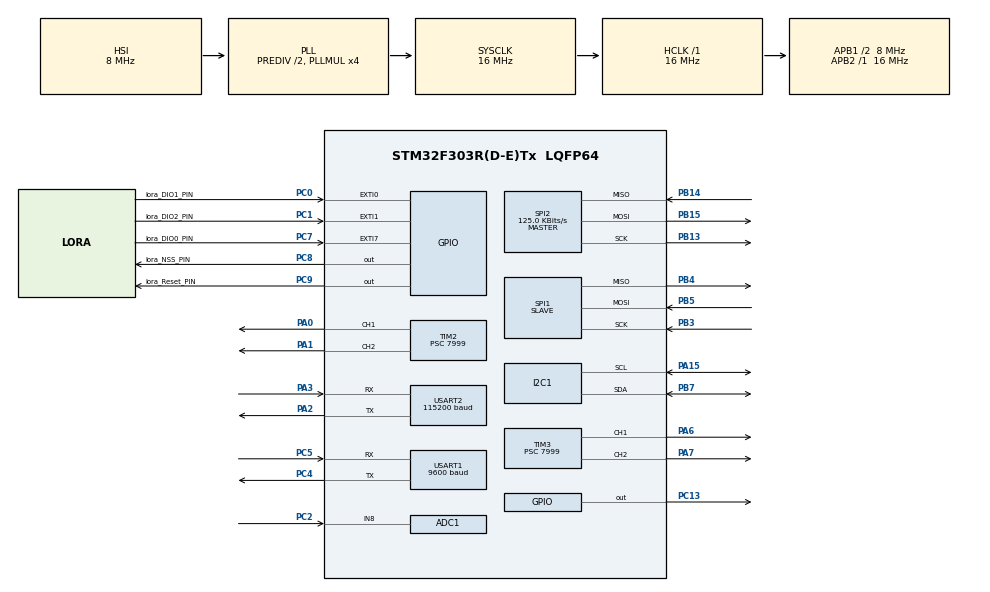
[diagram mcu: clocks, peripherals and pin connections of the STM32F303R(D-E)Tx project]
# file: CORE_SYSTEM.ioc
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ADC1.Channel-0\#ChannelRegularConversion=ADC_CHANNEL_8
ADC1.ContinuousConvMode=ENABLE
ADC1.NbrOfConversionFlag=1
ADC1.Offset-0\#ChannelRegularConversion=0
ADC1.OffsetNumber-0\#ChannelRegularConversion=ADC_OFFSET_NONE
ADC1.Rank-0\#ChannelRegularConversion=1
ADC1.SamplingTime-0\#ChannelRegularConversion=ADC_SAMPLETIME_1CYCLE_5
ADC1.SamplingTimeOPAMP-0\#ChannelRegularConversion=ADC_SAMPLETIME_7CYCLES_5
ADC1.master=1
Dma.ADC1.0.Direction=DMA_PERIPH_TO_MEMORY
Dma.ADC1.0.Instance=DMA1_Channel1
Dma.ADC1.0.MemDataAlignment=DMA_MDATAALIGN_HALFWORD
Dma.ADC1.0.MemInc=DMA_MINC_ENABLE
Dma.ADC1.0.Mode=DMA_NORMAL
Dma.ADC1.0.PeriphDataAlignment=DMA_PDATAALIGN_HALFWORD
Dma.ADC1.0.PeriphInc=DMA_PINC_DISABLE
Dma.ADC1.0.Priority=DMA_PRIORITY_LOW
Dma.Request0=ADC1
Dma.Request1=SPI1_RX
Dma.SPI1_RX.1.Direction=DMA_PERIPH_TO_MEMORY
Dma.SPI1_RX.1.Instance=DMA1_Channel2
Dma.SPI1_RX.1.MemDataAlignment=DMA_MDATAALIGN_BYTE
Dma.SPI1_RX.1.MemInc=DMA_MINC_ENABLE
Dma.SPI1_RX.1.Mode=DMA_CIRCULAR
Dma.SPI1_RX.1.PeriphDataAlignment=DMA_PDATAALIGN_BYTE
Dma.SPI1_RX.1.PeriphInc=DMA_PINC_DISABLE
Dma.SPI1_RX.1.Priority=DMA_PRIORITY_HIGH
Mcu.Family=STM32F3
Mcu.Name=STM32F303R(D-E)Tx
Mcu.Package=LQFP64
NVIC.DMA1_Channel1_IRQn=true\:0\:0\:false\:false\:true\:false\:true\:true
NVIC.DMA1_Channel2_IRQn=true\:0\:0\:false\:false\:true\:false\:true\:true
NVIC.EXTI0_IRQn=true\:0\:0\:false\:false\:true\:true\:true\:true
NVIC.EXTI1_IRQn=true\:0\:0\:false\:false\:true\:true\:true\:true
NVIC.EXTI9_5_IRQn=true\:0\:0\:false\:false\:true\:true\:true\:true
NVIC.PriorityGroup=NVIC_PRIORITYGROUP_0
NVIC.TIM4_IRQn=true\:0\:0\:false\:false\:true\:true\:true\:true
NVIC.TIM7_IRQn=true\:0\:0\:false\:false\:true\:true\:true\:true
NVIC.USART1_IRQn=true\:0\:0\:false\:false\:true\:true\:true\:true
NVIC.USART2_IRQn=true\:0\:0\:false\:false\:true\:true\:true\:true
PA0.Signal=S_TIM2_CH1_ETR
PA1.Signal=S_TIM2_CH2
PA13.Mode=Serial_Wire
PA13.Signal=SYS_JTMS-SWDIO
PA14.Mode=Serial_Wire
PA14.Signal=SYS_JTCK-SWCLK
PA15.Mode=I2C
PA15.Signal=I2C1_SCL
PA2.Mode=Asynchronous
PA2.Signal=USART2_TX
PA3.Mode=Asynchronous
PA3.Signal=USART2_RX
PA6.Signal=S_TIM3_CH1
PA7.Signal=S_TIM3_CH2
PB13.Mode=Full_Duplex_Master
PB13.Signal=SPI2_SCK
PB14.Mode=Full_Duplex_Master
PB14.Signal=SPI2_MISO
PB15.Mode=Full_Duplex_Master
PB15.Signal=SPI2_MOSI
PB3.Mode=Full_Duplex_Slave
PB3.Signal=SPI1_SCK
PB4.Mode=Full_Duplex_Slave
PB4.Signal=SPI1_MISO
PB5.Mode=Full_Duplex_Slave
PB5.Signal=SPI1_MOSI
PB7.Mode=I2C
PB7.Signal=I2C1_SDA
PC0.GPIO_Label=lora_DIO1_PIN
PC0.Signal=GPXTI0
PC1.GPIO_Label=lora_DIO2_PIN
PC1.Signal=GPXTI1
PC13.Signal=GPIO_Output
PC14-OSC32_IN.Mode=LSE-External-Oscillator
PC14-OSC32_IN.Signal=RCC_OSC32_IN
PC15-OSC32_OUT.Mode=LSE-External-Oscillator
PC15-OSC32_OUT.Signal=RCC_OSC32_OUT
PC2.Signal=ADCx_IN8
PC4.Mode=Asynchronous
PC4.Signal=USART1_TX
PC5.Mode=Asynchronous
PC5.Signal=USART1_RX
PC7.GPIO_Label=lora_DIO0_PIN
PC7.Signal=GPXTI7
PC8.GPIO_Label=lora_NSS_PIN
PC8.Signal=GPIO_Output
PC9.GPIO_Label=lora_Reset_PIN
PC9.Signal=GPIO_Output
PF0-OSC_IN.Mode=HSE-External-Oscillator
PF0-OSC_IN.Signal=RCC_OSC_IN
PF1-OSC_OUT.Mode=HSE-External-Oscillator
PF1-OSC_OUT.Signal=RCC_OSC_OUT
ProjectManager.HeapSize=0x200
ProjectManager.StackSize=0x400
ProjectManager.TargetToolchain=STM32CubeIDE
RCC.AHBFreq_Value=16000000
RCC.APB1CLKDivider=RCC_HCLK_DIV2
RCC.APB1Freq_Value=8000000
RCC.APB1TimFreq_Value=16000000
RCC.APB2Freq_Value=16000000
RCC.APB2TimFreq_Value=16000000
RCC.CortexFreq_Value=16000000
RCC.HCLKFreq_Value=16000000
RCC.HSE_VALUE=8000000
RCC.HSI_VALUE=8000000
RCC.PLLDivider=RCC_PREDIV_DIV2
RCC.PLLM=8
RCC.PLLMUL=RCC_PLL_MUL4
RCC.PLLN=336
RCC.PLLP=RCC_PLLP_DIV4
RCC.PLLQ=7
RCC.RCC_PLLsource_Clock_Source_FROM_HSE=RCC_HSE_PREDIV_DIV2
RCC.SYSCLKFreq_VALUE=16000000
RCC.SYSCLKSourceVirtual=RCC_SYSCLKSOURCE_PLLCLK
RCC.USBFreq_Value=16000000
SH.ADCx_IN8.0=ADC1_IN8,IN8-Single-Ended
SH.S_TIM2_CH1_ETR.0=TIM2_CH1,PWM Generation1 CH1
SH.S_TIM2_CH2.0=TIM2_CH2,PWM Generation2 CH2
SH.S_TIM3_CH1.0=TIM3_CH1,PWM Generation1 CH1
SH.S_TIM3_CH2.0=TIM3_CH2,PWM Generation2 CH2
SPI1.DataSize=SPI_DATASIZE_8BIT
SPI1.Direction=SPI_DIRECTION_2LINES
SPI1.Mode=SPI_MODE_SLAVE
SPI1.VirtualType=VM_SLAVE
SPI2.BaudRatePrescaler=SPI_BAUDRATEPRESCALER_64
SPI2.CalculateBaudRate=125.0 KBits/s
SPI2.DataSize=SPI_DATASIZE_8BIT
SPI2.Direction=SPI_DIRECTION_2LINES
SPI2.Mode=SPI_MODE_MASTER
SPI2.VirtualType=VM_MASTER
TIM2.Channel-PWM\ Generation1\ CH1=TIM_CHANNEL_1
TIM2.Channel-PWM\ Generation2\ CH2=TIM_CHANNEL_2
TIM2.Period=199
TIM2.Prescaler=7999
TIM3.Channel-PWM\ Generation1\ CH1=TIM_CHANNEL_1
TIM3.Channel-PWM\ Generation2\ CH2=TIM_CHANNEL_2
TIM3.Period=199
TIM3.Prescaler=7999
TIM4.Channel-Output\ Compare1\ No\ Output=TIM_CHANNEL_1
TIM4.Period=30000-1
TIM4.Prescaler=244-1
TIM7.Period=65535-1
TIM7.Prescaler=1221-1
TIM8.Period=63999
TIM8.Prescaler=1249
USART1.BaudRate=9600
USART1.VirtualMode-Asynchronous=VM_ASYNC
USART2.BaudRate=115200
USART2.VirtualMode-Asynchronous=VM_ASYNC
VP_TIM2_VS_ClockSourceINT.Mode=Internal
VP_TIM3_VS_ClockSourceINT.Mode=Internal
VP_TIM4_VS_no_output1.Mode=Output Compare1 No Output
VP_TIM7_VS_ClockSourceINT.Mode=Enable_Timer
VP_TIM8_VS_ClockSourceINT.Mode=Internal
board=NUCLEO-F303RE

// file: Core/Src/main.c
/* USER CODE BEGIN Header */
/**
  ******************************************************************************
  * @file           : main.c
  * @brief          : Main program body
  ******************************************************************************
  * @attention
  *
  * Copyright (c) 2023 STMicroelectronics.
  * All rights reserved.
  *
  * This software is licensed under terms that can be found in the LICENSE file
  * in the root directory of this software component.
  * If no LICENSE file comes with this software, it is provided AS-IS.
  *
  ******************************************************************************
  */
/* USER CODE END Header */
#include "main.h"

/* USER CODE BEGIN Includes */
#include "../../lmic/lmic.h"
#include "../../stm32/debug.h"
#include "stdio.h"
/*------------OUT OF LORA-------------*/
#include <stdlib.h>
#include <math.h>
#include <stdbool.h>

#include "MPU6050.h"
#include "HMC5883L.h"
#include "lwgps/lwgps.h"
#include "moving.h"
#include "geometric.h"
/*-------------------------*/
/* USER CODE END Includes */

/* USER CODE BEGIN PD */
// Max size array
#define SIZEARRAY 50

/*---------------------MPU6050+HMC5883L----------------------*/
/*-------------Hệ thống cân bằng 9DOF - Trục tự do-----------*/
MPU6050 mpu6050;
MPU6050Error mpu6050error;
float currentAngle ; //Góc quay của hệ thống theo trục Z
float targetAngle; //Góc đích hệ thống cần đạt tới
HMC5883L hmc5883l;
float Gz;
bool firstTime = true;
/*-----------------------------------------------------------*/

/*-----------------------------GPS------------------------------*/
/* Số lượng mẫu dùng để làm trung bình dữ liệu GPS - Chống nhiễu*/
#define NUM_SAMPLES 20
lwgps_t gps;
float latitude_samples[NUM_SAMPLES];
float longitude_samples[NUM_SAMPLES];
int sample_index = 0;
//Khởi tạo điểm bắt đầu (�?iễm Tĩnh)
 Coordinate startGPS = {0.0f,0.0f};
// GPS after filter
Coordinate currentGPS = {0.0f,0.0f};
//GPS of shortest path in Markers from startGPS
Coordinate targetGPS = {16.075417285156828, 108.15257015675355};
//Coordinate targetGPS = {16.075421557735048, 108.15258639483889};

uint8_t isStartSaved = 0;
/*--------------------------------------------------------------*/

/*Nhận dữ liệu Markers từ Server -> STM32 thông qua LoRa
 * Mảng lưu khoảng cách để tìm ngắn nhất*/
static Coordinate markers[2] = {
		{16.075194111747805, 108.15276546075143},
		{16.0711222, 108.1523200},

};

Coordinate gridList[10] = {
		{16.075425130506527, 108.15259298609973},
		{16.075428518189263, 108.15261629679365}
};

int gridIdx = 0; // Khi chưa đến marker 0
int CCRleft1, CCRleft2, CCRright1, CCRright2;
//Distance from Start Point to Marker 0
float firstDistance= 0.0;
//Distance from
float currentDistance = 0.0;

int32_t lat_int ;
int32_t lat_fractional;
/*------------------------------------------------------*/

/*----For SPI1----*/
uint8_t RxBuffer;
char *tmp;
int dataRx = 0;
uint8_t receivedData;
/*----------------*/

/*----For USART 1----*/
uint8_t rx_buffer[128];
uint8_t rx_index = 0;
uint8_t rx_data = 0;
/*-------------------*/

/*---------For ADC---------*/
float battery_voltage =0.0f;
float speed =0.0f;
uint32_t ADC_value;
/*-------------------------*/

/* USER CODE END PD */

/* USER CODE BEGIN PM */
int a =0;
int fPort ;
uint8_t result;
/* USER CODE END PM */

ADC_HandleTypeDef hadc1;
DMA_HandleTypeDef hdma_adc1;

I2C_HandleTypeDef hi2c1;

SPI_HandleTypeDef hspi1;
SPI_HandleTypeDef hspi2;
DMA_HandleTypeDef hdma_spi1_rx;

TIM_HandleTypeDef htim2;
TIM_HandleTypeDef htim3;
TIM_HandleTypeDef htim4;
TIM_HandleTypeDef htim7;
TIM_HandleTypeDef htim8;

UART_HandleTypeDef huart1;
UART_HandleTypeDef huart2;

/* USER CODE BEGIN PV */
// application router ID (LSBF)  < ------- IMPORTANT
// application router ID (LSBF)
static const uint8_t APPEUI[8]  = {}; //{ 0xC1 , 0x67 , 0x01 , 0xD0 , 0x7E , 0xD5 , 0xB3 , 0x70};

// unique device ID (LSBF)
static const uint8_t DEVEUI[8]  ={ 0x70, 0xB3, 0xD5, 0x7E, 0xD8, 0x00, 0x21, 0x35 }; //{ 0x5b , 0xfe , 0xA1 , 0x59 , 0x2f , 0xf1 , 0x56 , 0x00 };

// device-specific AES key (derived from device EUI)
static const uint8_t DEVKEY[16] = {}; //{ 0x02, 0x25, 0xC3, 0x06, 0x01, 0xAF, 0xA9, 0xEC, 0x05, 0x74, 0xA2, 0x66, 0xA5, 0xAA, 0xE3, 0x18 };
// network.
static const uint8_t NWKSKEY[16] = { 0x5F, 0xCC, 0x77, 0xA8, 0x6A, 0xCB, 0x59, 0x7D, 0x5B, 0xD9, 0x80, 0x23, 0x13, 0x45, 0x94, 0x73 };

// LoRaWAN AppSKey, application session key
// This is the default Semtech key, which is used by the early prototype TTN
// network.
static const uint8_t APPSKEY[16] = { 0xAC, 0x06, 0x47, 0xBB, 0x19, 0xE8, 0x25, 0x1D, 0xF3, 0xB5, 0x70, 0xC6, 0x0C, 0xB0, 0x9A, 0x54 };

// LoRaWAN end-device address (DevAddr)
static const uint32_t DEVADDR = 0x27FD1B80; // <-- Change this address for every node!

//   ABP
/* USER CODE END PV */

void SystemClock_Config(void);
static void MX_GPIO_Init(void);
static void MX_DMA_Init(void);
static void MX_SPI2_Init(void);
static void MX_TIM4_Init(void);
static void MX_TIM7_Init(void);
static void MX_USART1_UART_Init(void);
static void MX_I2C1_Init(void);
static void MX_TIM2_Init(void);
static void MX_USART2_UART_Init(void);
static void MX_TIM3_Init(void);
static void MX_ADC1_Init(void);
static void MX_SPI1_Init(void);
static void MX_TIM8_Init(void);
/* USER CODE BEGIN PFP */

void HAL_UART_RxCpltCallback(UART_HandleTypeDef *huart)
{
	if(huart == &huart1) {
		if(rx_data != '\n' && rx_index < sizeof(rx_buffer)) {
			rx_buffer[rx_index++] = rx_data;
		} else {
			lwgps_process(&gps, rx_buffer, rx_index+1);
			rx_index = 0;
			rx_data = 0;
		}
		HAL_UART_Receive_IT(&huart1, &rx_data, 1);
	}
}

void deleteBuffer(char* data)
{
  uint8_t len = strlen(data);
  for(uint8_t i = 0; i < len; i++)
  {
		data[i] = 0;
  }
}

/* USER CODE END PFP */

/* USER CODE BEGIN 0 */

void os_getArtEui (uint8_t* buf) {
    memcpy(buf, APPEUI, 8);
}

// provide device ID (8 bytes, LSBF)
void os_getDevEui (uint8_t* buf) {
    memcpy(buf, DEVEUI, 8);
}

// provide device key (16 bytes)
void os_getDevKey (uint8_t* buf) {
    memcpy(buf, DEVKEY, 16);
}

#define TX_INTERVAL 10

#define TX_TIMEOUT 60
static uint8_t data[24];
static osjob_t sendjob;

void do_send(osjob_t* j){
	ostime_t tm = os_getTime();
		printf("Call %s %lums\n", __func__, (unsigned long)osticks2ms(tm));

		if (!(LMIC.opmode & OP_TXRXPEND)) {

			double lat_float = currentGPS.latitude * 1000000.0;
			double lon_float = currentGPS.longitude * 1000000.0;

			 lat_int = (int32_t)lat_float; // Integer part of latitude
			 int32_t lon_int = (int32_t)lon_float; // Integer part of longitude

			// Calculate fractional parts for latitude and longitude with 10 decimal places
			double lat_fractional_double = (lat_float - lat_int)*1000.0;
			double lon_fractional_double = (lon_float - lon_int) * 1000.0;

			// Round the fractional parts to integers
			 lat_fractional = (int32_t)(lat_fractional_double ); // Round to the nearest integer
			int32_t lon_fractional = (int32_t)(lon_fractional_double ); // Round to the nearest integer

			//Convert speed and battery percentage to integers for transmission
			int32_t speedInt = (int32_t)(speed * 100); // Multiply by 100 to keep two decimal places
			int32_t batteryPercentageInt = (int32_t)(battery_voltage * 100); // Multiply by 100 to keep two decimal places

			// Now convert integer and fractional parts into bytes
			data[0] = (lat_int >> 24) & 0xFF;
			data[1] = (lat_int >> 16) & 0xFF;
			data[2] = (lat_int >> 8) & 0xFF;
			data[3] = lat_int & 0xFF;

			data[4] = (lat_fractional >> 24) & 0xFF;
			data[5] = (lat_fractional >> 16) & 0xFF;
			data[6] = (lat_fractional >> 8) & 0xFF;
			data[7] = lat_fractional & 0xFF;

			data[8] = (lon_int >> 24) & 0xFF;
			data[9] = (lon_int >> 16) & 0xFF;
			data[10] = (lon_int >> 8) & 0xFF;
			data[11] = lon_int & 0xFF;

			data[12] = (lon_fractional >> 24) & 0xFF;
			data[13] = (lon_fractional >> 16) & 0xFF;
			data[14] = (lon_fractional >> 8) & 0xFF;
			data[15] = lon_fractional & 0xFF;

			data[16] = (speedInt >> 24) & 0xFF;
			data[17] = (speedInt >> 16) & 0xFF;
			data[18] = (speedInt >> 8) & 0xFF;
			data[19] = speedInt & 0xFF;

			data[20] = (batteryPercentageInt >> 24) & 0xFF;
			data[21] = (batteryPercentageInt >> 16) & 0xFF;
			data[22] = (batteryPercentageInt >> 8) & 0xFF;
			data[23] = batteryPercentageInt & 0xFF;

			LMIC_setTxData2(1, data, sizeof(data), 0);
			for (int i = 0; i<=sizeof(data); i++) data[i] = 0;
		}
		os_setTimedCallback(j, tm+sec2osticks(TX_TIMEOUT), do_send);
}
void onEvent (ev_t ev) {
    debug_event(ev);
    debug_str("\n");
    switch(ev) {
        case EV_SCAN_TIMEOUT:
            debug_str("EV_SCAN_TIMEOUT\n");
            break;
        case EV_BEACON_FOUND:
            debug_str("EV_BEACON_FOUND\n");
            break;
        case EV_BEACON_MISSED:
            debug_str("EV_BEACON_MISSED\n");
            break;
        case EV_BEACON_TRACKED:
            debug_str("EV_BEACON_TRACKED\n");
            break;
        case EV_JOINING:
            debug_str("EV_JOINING\n");
            break;
        case EV_JOINED:
            debug_str("EV_JOINED\n");
            break;
        case EV_RFU1:
            debug_str("EV_RFU1\n");
            break;
        case EV_JOIN_FAILED:
            debug_str("EV_JOIN_FAILED\n");
            break;
        case EV_REJOIN_FAILED:
            debug_str("EV_REJOIN_FAILED\n");
            os_setTimedCallback(&sendjob, os_getTime()+sec2osticks(TX_INTERVAL), do_send);
            break;
        case EV_TXCOMPLETE:
            debug_str("EV_TXCOMPLETE (includes waiting for RX windows)\n");
            if (LMIC.txrxFlags & TXRX_ACK)
              debug_str("Received ack\n");
            if (LMIC.dataLen) {
            	a=1;
              debug_str("Received \n");
              debug_int(LMIC.dataLen);
              debug_str(" bytes of payload\n");
            }

            // Schedule next transmission
            os_setTimedCallback(&sendjob, os_getTime()+sec2osticks(TX_INTERVAL), do_send);
            break;
        case EV_LOST_TSYNC:
            debug_str("EV_LOST_TSYNC\n");
            break;
        case EV_RESET:
            debug_str("EV_RESET\n");
            break;
        case EV_RXCOMPLETE:
            // data received in ping slot
            debug_str("EV_RXCOMPLETE\n");
            if(LMIC.dataLen >0){
          	  result = LMIC.frame[LMIC.dataBeg + 0];
            if (result == 1)  {
          	  HAL_GPIO_TogglePin(GPIOC, GPIO_PIN_13);
           }
           if (result == 2)  {
          	  HAL_GPIO_WritePin(GPIOC, GPIO_PIN_13, SET);
           }
           }
            break;
        case EV_LINK_DEAD:
            debug_str("EV_LINK_DEAD\n");
            break;
        case EV_LINK_ALIVE:
            debug_str("EV_LINK_ALIVE\n");
            break;
         default:
            debug_str("Unknown event\n");
            break;
    }
}

void initfunc(osjob_t* j)
{
	   // Reset the MAC state. Session and pending data transfers will be discarded.
	   LMIC_reset();
	   LMIC_startJoining();
	   // Set static session parameters. Instead of dynamically establishing a session
	   // by joining the network, precomputed session parameters are be provided.
	   // On AVR, these values are stored in flash and only copied to RAM
	   // once. Copy them to a temporary buffer here, LMIC_setSession will
	   // copy them into a buffer of its own again.
	    uint8_t appskey[sizeof(APPSKEY)];
	    uint8_t nwkskey[sizeof(NWKSKEY)];
	    memcpy(appskey, APPSKEY, sizeof(APPSKEY));
	    memcpy(nwkskey, NWKSKEY, sizeof(NWKSKEY));
	    LMIC_setSession (0x1, DEVADDR, nwkskey, appskey);

	  #if defined(CFG_eu868)
	   // Set up the channels used by the Things Network, which corresponds
	   // to the defaults of most gateways. Without this, only three base
	   // channels from the LoRaWAN specification are used, which certainly
	   // works, so it is good for debugging, but can overload those
	   // frequencies, so be sure to configure the full frequency range of
	   // your network here (unless your network autoconfigures them).
	   // Setting up channels should happen after LMIC_setSession, as that
	   // configures the minimal channel set.
	   // NA-US channels 0-71 are configured automatically
	   LMIC_setupChannel(0, 903900000, DR_RANGE_MAP(DR_SF12, DR_SF7),  BAND_CENTI);      // g-band
	   LMIC_setupChannel(1, 904100000, DR_RANGE_MAP(DR_SF12, DR_SF7B), BAND_CENTI);      // g-band
	   LMIC_setupChannel(2, 904300000, DR_RANGE_MAP(DR_SF12, DR_SF7),  BAND_CENTI);      // g-band
	   LMIC_setupChannel(3, 904500000, DR_RANGE_MAP(DR_SF12, DR_SF7),  BAND_CENTI);      // g-band
	   LMIC_setupChannel(4, 904700000, DR_RANGE_MAP(DR_SF12, DR_SF7),  BAND_CENTI);      // g-band
	   LMIC_setupChannel(5, 904900000, DR_RANGE_MAP(DR_SF12, DR_SF7),  BAND_CENTI);      // g-band
	   LMIC_setupChannel(6, 905100000, DR_RANGE_MAP(DR_SF12, DR_SF7),  BAND_CENTI);      // g-band
	   LMIC_setupChannel(7, 905300000, DR_RANGE_MAP(DR_SF12, DR_SF7),  BAND_CENTI);      // g-band
	   LMIC_setupChannel(8, 904600000, DR_RANGE_MAP(DR_FSK,  DR_FSK),  BAND_MILLI);      // g2-band
	   // TTN defines an additional channel at 869.525Mhz using SF9 for class B
	   // devices' ping slots. LMIC does not have an easy way to define set this
	   // frequency and support for class B is spotty and untested, so this
	   // frequency is not configured here.
	   #elif defined(CFG_us915)
	   // NA-US channels 0-71 are configured automatically
	   // but only one group of 8 should (a subband) should be active
	   // TTN recommends the second sub band, 1 in a zero based count.
	   // https://github.com/TheThingsNetwork/gateway-conf/blob/master/US-global_conf.json
	   LMIC_selectSubBand(1);
	  #endif

	   // Disable link check validation
	   LMIC_setLinkCheckMode(0);

	   // TTN uses SF9 for its RX2 window.
	   LMIC.dn2Dr = DR_SF9;

	   // Set data rate and transmit power for uplink (note: txpow seems to be ignored by the library)
	   LMIC_setDrTxpow(DR_SF9,14);
	   os_setTimedCallback(&sendjob, os_getTime(), do_send);
	   // Start job

	  // time= HAL_GetTick();
}

// Hàm cập nhật giá trị GPS bằng cách làm trung bình các mẫu
void UpdateGPS(double new_latitude, double new_longitude) {

    // Lưu giá trị mới vào mảng mẫu
    latitude_samples[sample_index] = new_latitude;
    longitude_samples[sample_index] = new_longitude;

    // Tăng chỉ số mẫu
    sample_index = (sample_index + 1) % NUM_SAMPLES;

    // Tính giá trị trung bình từ các mẫu
    double sum_latitude = 0.0f;
    double sum_longitude = 0.0f;
    for (int i = 0; i < NUM_SAMPLES; i++) {
        sum_latitude += latitude_samples[i];
        sum_longitude += longitude_samples[i];
    }

    // Cập nhật giá trị GPS bằng giá trị trung bình
    currentGPS.latitude = sum_latitude / NUM_SAMPLES;
    currentGPS.longitude = sum_longitude / NUM_SAMPLES;

}

/*Function save Start GPS at the first time TURN ON SYSTEM*/
void initializeStartPointGPS(Coordinate current){
	if (current.latitude != 0 && isStartSaved <= 250) {
		startGPS = current;
		isStartSaved++;
	}
}

/*Function save the first target angle for first time open sytem with no data markers*/
void initializeFirstAngle(){
	if ( firstTime ) {
		targetAngle = currentAngle;
		firstTime = false;
	}
}

/*Function calculation angle of system depend on X-Y-Z Axis*/
void calculateAngleOfSystem(){
	HMC5883L_ReadMagneticField(&hmc5883l);
    MPU6050_Read_All(&mpu6050, &mpu6050error,&hmc5883l);
    Gz = mpu6050.Gz;
    //Current angle of robot
    currentAngle = round(mpu6050.Angle[2]);
    HAL_Delay(1);

}

/* Function calculating from the startPoint to 1 of Grid[0] */
float informationFirstPhase(){
	targetGPS.longitude = markers[0].longitude;
	targetGPS.latitude = markers[0].latitude;
	return Haversine_Distance(startGPS, targetGPS);;

}

/*Function to find target angle (Angle of shorsted path)*/
void findAngleForFirstPhase(){

	targetAngle = round(convertRange360(Azimuth_Angle(startGPS, targetGPS)));
}

/* Function to calculate battery percentage*/
float calculateBatteryPercentage(uint16_t adcValue) {
    uint16_t ADC_min = 2444*(3.37/6.7);
    uint16_t ADC_max = 4095;

    float batteryPercentage = ((float)(adcValue - ADC_min) / (float)(ADC_max - ADC_min)) * 100.0f;

    if (batteryPercentage > 100.0f) {
        batteryPercentage = 100.0f;
    } else if (batteryPercentage < 0.0f) {
        batteryPercentage = 0.0f;
    }

    return batteryPercentage;
}

/* Function to read ADC value for Battery Percentage*/
void processingBatteryPercentage(){
	HAL_ADC_Start_DMA(&hadc1, &ADC_value, 1);
	speed = lwgps_to_speed(gps.speed, lwgps_speed_mps);
	battery_voltage = calculateBatteryPercentage(ADC_value);
}

/* USER CODE END 0 */

int main(void)
{

  /* MCU Configuration--------------------------------------------------------*/

  /* Reset of all peripherals, Initializes the Flash interface and the Systick. */
  HAL_Init();

  /* Configure the system clock */
  SystemClock_Config();

  /* Initialize all configured peripherals */
  MX_GPIO_Init();
  MX_DMA_Init();
  MX_SPI2_Init();
  MX_TIM4_Init();
  MX_TIM7_Init();
  MX_USART1_UART_Init();
  MX_I2C1_Init();
  MX_TIM2_Init();
  MX_USART2_UART_Init();
  MX_TIM3_Init();
  MX_ADC1_Init();
  MX_SPI1_Init();
  MX_TIM8_Init();
  /* USER CODE BEGIN 2 */
  /*------------PWM Motor Init-----------*/
  HAL_TIM_PWM_Start(&htim2, TIM_CHANNEL_1);
  HAL_TIM_PWM_Start(&htim2, TIM_CHANNEL_2);
  HAL_TIM_PWM_Start(&htim3, TIM_CHANNEL_1);
  HAL_TIM_PWM_Start(&htim3, TIM_CHANNEL_2);
  /*------------------------------ -------*/

  /*-----------Robot GPS Init-------------*/
  lwgps_init(&gps);
  HAL_UART_Receive_IT(&huart1, &rx_data, 1);
  /*--------------------------------------*/

  /*---------------9DOF Init------------------*/
  MPU6050_Init();
  MPU6050_Calibration(&mpu6050, &mpu6050error);
  HAL_Delay(20);
  HMC5883L_Init();
  HMC5883L_Calibration(&hmc5883l);
  /*------------------------------------------*/

  /*------Raspberry Pi 4 interract-------*/
   // HAL_SPI_Receive_DMA(&hspi1, &RxBuffer, 1);
   /*-------------------------------------*/

  /*----------LORA Init------------*/
  HAL_TIM_Base_Start_IT(&htim4);    // <-----------  change to your setup
  HAL_TIM_Base_Start_IT(&htim7);    // <-----------  change to your setup
  __HAL_SPI_ENABLE(&hspi2);      	// <-----------  change to your setup
  /*------------------------------*/

  /* USER CODE END 2 */

  /* Infinite loop */
  /* USER CODE BEGIN WHILE */
	osjob_t initjob;
	os_init();
	initfunc(&initjob);
	do_send(&sendjob);
  while (1)
  {
    /* USER CODE END WHILE */

    /* USER CODE BEGIN 3 */

	  /*-----Basic Update Position and Angle of system-----*/
	   UpdateGPS(gps.latitude, gps.longitude);
	   calculateAngleOfSystem();
	   processingBatteryPercentage();
	  /*---------------------------------------------------*/

	   if(sizeof(markers) != 0){
		   if(RxBuffer == 'a'){
			   TURN_LEFT();
		   	   		tmp = "left";
		   }	else if(RxBuffer == 'b'){
			   TURN_RIGHT();
		   	   		tmp = "right";
		   } 	else if(RxBuffer == 'c'){
			   	   driving();
					tmp = "straight";
		   }else {
			   STOP();
			   initializeStartPointGPS(currentGPS);
			   	  	 HAL_Delay(10);
			   	  	 /*-----------------------Chặng - I-----------------------*/
			   	  //	 targetGPS = (gridIdx < 0) ? markers[0] : gridList[gridIdx];
			   	  	 targetGPS =gridList[gridIdx];
			   	  	 firstDistance = Haversine_Distance(startGPS, targetGPS);
			   	  	 findAngleForFirstPhase();
			   	  	 arrivePoint(targetGPS);
		   }
	  }else {

		  //When no data in markers , system will rotate for itself to avoid water current
		  initializeFirstAngle();
		  rotate();
	  }

	  /*----LoRa send data---*/
	  os_runloop_once();
	  /*---------------------*/
  }
  /* USER CODE END 3 */
}

void SystemClock_Config(void)
{
  RCC_OscInitTypeDef RCC_OscInitStruct = {0};
  RCC_ClkInitTypeDef RCC_ClkInitStruct = {0};
  RCC_PeriphCLKInitTypeDef PeriphClkInit = {0};

  /** Initializes the RCC Oscillators according to the specified parameters
  * in the RCC_OscInitTypeDef structure.
  */
  RCC_OscInitStruct.OscillatorType = RCC_OSCILLATORTYPE_HSI;
  RCC_OscInitStruct.HSIState = RCC_HSI_ON;
  RCC_OscInitStruct.HSICalibrationValue = RCC_HSICALIBRATION_DEFAULT;
  RCC_OscInitStruct.PLL.PLLState = RCC_PLL_ON;
  RCC_OscInitStruct.PLL.PLLSource = RCC_PLLSOURCE_HSI;
  RCC_OscInitStruct.PLL.PLLMUL = RCC_PLL_MUL4;
  RCC_OscInitStruct.PLL.PREDIV = RCC_PREDIV_DIV2;
  if (HAL_RCC_OscConfig(&RCC_OscInitStruct) != HAL_OK)
  {
    Error_Handler();
  }

  /** Initializes the CPU, AHB and APB buses clocks
  */
  RCC_ClkInitStruct.ClockType = RCC_CLOCKTYPE_HCLK|RCC_CLOCKTYPE_SYSCLK
                              |RCC_CLOCKTYPE_PCLK1|RCC_CLOCKTYPE_PCLK2;
  RCC_ClkInitStruct.SYSCLKSource = RCC_SYSCLKSOURCE_PLLCLK;
  RCC_ClkInitStruct.AHBCLKDivider = RCC_SYSCLK_DIV1;
  RCC_ClkInitStruct.APB1CLKDivider = RCC_HCLK_DIV2;
  RCC_ClkInitStruct.APB2CLKDivider = RCC_HCLK_DIV1;

  if (HAL_RCC_ClockConfig(&RCC_ClkInitStruct, FLASH_LATENCY_0) != HAL_OK)
  {
    Error_Handler();
  }
  PeriphClkInit.PeriphClockSelection = RCC_PERIPHCLK_USART1|RCC_PERIPHCLK_USART2
                              |RCC_PERIPHCLK_I2C1|RCC_PERIPHCLK_TIM8
                              |RCC_PERIPHCLK_ADC12|RCC_PERIPHCLK_TIM2
                              |RCC_PERIPHCLK_TIM34;
  PeriphClkInit.Usart1ClockSelection = RCC_USART1CLKSOURCE_PCLK2;
  PeriphClkInit.Usart2ClockSelection = RCC_USART2CLKSOURCE_PCLK1;
  PeriphClkInit.Adc12ClockSelection = RCC_ADC12PLLCLK_DIV1;
  PeriphClkInit.I2c1ClockSelection = RCC_I2C1CLKSOURCE_HSI;
  PeriphClkInit.Tim8ClockSelection = RCC_TIM8CLK_HCLK;
  PeriphClkInit.Tim2ClockSelection = RCC_TIM2CLK_HCLK;
  PeriphClkInit.Tim34ClockSelection = RCC_TIM34CLK_HCLK;
  if (HAL_RCCEx_PeriphCLKConfig(&PeriphClkInit) != HAL_OK)
  {
    Error_Handler();
  }
}

static void MX_ADC1_Init(void)
{

  ADC_MultiModeTypeDef multimode = {0};
  ADC_ChannelConfTypeDef sConfig = {0};

  /** Common config
  */
  hadc1.Instance = ADC1;
  hadc1.Init.ClockPrescaler = ADC_CLOCK_ASYNC_DIV1;
  hadc1.Init.Resolution = ADC_RESOLUTION_12B;
  hadc1.Init.ScanConvMode = ADC_SCAN_DISABLE;
  hadc1.Init.ContinuousConvMode = ENABLE;
  hadc1.Init.DiscontinuousConvMode = DISABLE;
  hadc1.Init.ExternalTrigConvEdge = ADC_EXTERNALTRIGCONVEDGE_NONE;
  hadc1.Init.ExternalTrigConv = ADC_SOFTWARE_START;
  hadc1.Init.DataAlign = ADC_DATAALIGN_RIGHT;
  hadc1.Init.NbrOfConversion = 1;
  hadc1.Init.DMAContinuousRequests = DISABLE;
  hadc1.Init.EOCSelection = ADC_EOC_SINGLE_CONV;
  hadc1.Init.LowPowerAutoWait = DISABLE;
  hadc1.Init.Overrun = ADC_OVR_DATA_OVERWRITTEN;
  if (HAL_ADC_Init(&hadc1) != HAL_OK)
  {
    Error_Handler();
  }

  /** Configure the ADC multi-mode
  */
  multimode.Mode = ADC_MODE_INDEPENDENT;
  if (HAL_ADCEx_MultiModeConfigChannel(&hadc1, &multimode) != HAL_OK)
  {
    Error_Handler();
  }

  /** Configure Regular Channel
  */
  sConfig.Channel = ADC_CHANNEL_8;
  sConfig.Rank = ADC_REGULAR_RANK_1;
  sConfig.SingleDiff = ADC_SINGLE_ENDED;
  sConfig.SamplingTime = ADC_SAMPLETIME_1CYCLE_5;
  sConfig.OffsetNumber = ADC_OFFSET_NONE;
  sConfig.Offset = 0;
  if (HAL_ADC_ConfigChannel(&hadc1, &sConfig) != HAL_OK)
  {
    Error_Handler();
  }

}

static void MX_I2C1_Init(void)
{

  hi2c1.Instance = I2C1;
  hi2c1.Init.Timing = 0x2000090E;
  hi2c1.Init.OwnAddress1 = 0;
  hi2c1.Init.AddressingMode = I2C_ADDRESSINGMODE_7BIT;
  hi2c1.Init.DualAddressMode = I2C_DUALADDRESS_DISABLE;
  hi2c1.Init.OwnAddress2 = 0;
  hi2c1.Init.OwnAddress2Masks = I2C_OA2_NOMASK;
  hi2c1.Init.GeneralCallMode = I2C_GENERALCALL_DISABLE;
  hi2c1.Init.NoStretchMode = I2C_NOSTRETCH_DISABLE;
  if (HAL_I2C_Init(&hi2c1) != HAL_OK)
  {
    Error_Handler();
  }

  /** Configure Analogue filter
  */
  if (HAL_I2CEx_ConfigAnalogFilter(&hi2c1, I2C_ANALOGFILTER_ENABLE) != HAL_OK)
  {
    Error_Handler();
  }

  /** Configure Digital filter
  */
  if (HAL_I2CEx_ConfigDigitalFilter(&hi2c1, 0) != HAL_OK)
  {
    Error_Handler();
  }

}

static void MX_SPI1_Init(void)
{

  /* SPI1 parameter configuration*/
  hspi1.Instance = SPI1;
  hspi1.Init.Mode = SPI_MODE_SLAVE;
  hspi1.Init.Direction = SPI_DIRECTION_2LINES;
  hspi1.Init.DataSize = SPI_DATASIZE_8BIT;
  hspi1.Init.CLKPolarity = SPI_POLARITY_LOW;
  hspi1.Init.CLKPhase = SPI_PHASE_1EDGE;
  hspi1.Init.NSS = SPI_NSS_SOFT;
  hspi1.Init.FirstBit = SPI_FIRSTBIT_MSB;
  hspi1.Init.TIMode = SPI_TIMODE_DISABLE;
  hspi1.Init.CRCCalculation = SPI_CRCCALCULATION_DISABLE;
  hspi1.Init.CRCPolynomial = 7;
  hspi1.Init.CRCLength = SPI_CRC_LENGTH_DATASIZE;
  hspi1.Init.NSSPMode = SPI_NSS_PULSE_DISABLE;
  if (HAL_SPI_Init(&hspi1) != HAL_OK)
  {
    Error_Handler();
  }

}

static void MX_SPI2_Init(void)
{

  /* SPI2 parameter configuration*/
  hspi2.Instance = SPI2;
  hspi2.Init.Mode = SPI_MODE_MASTER;
  hspi2.Init.Direction = SPI_DIRECTION_2LINES;
  hspi2.Init.DataSize = SPI_DATASIZE_8BIT;
  hspi2.Init.CLKPolarity = SPI_POLARITY_LOW;
  hspi2.Init.CLKPhase = SPI_PHASE_1EDGE;
  hspi2.Init.NSS = SPI_NSS_SOFT;
  hspi2.Init.BaudRatePrescaler = SPI_BAUDRATEPRESCALER_64;
  hspi2.Init.FirstBit = SPI_FIRSTBIT_MSB;
  hspi2.Init.TIMode = SPI_TIMODE_DISABLE;
  hspi2.Init.CRCCalculation = SPI_CRCCALCULATION_DISABLE;
  hspi2.Init.CRCPolynomial = 7;
  hspi2.Init.CRCLength = SPI_CRC_LENGTH_DATASIZE;
  hspi2.Init.NSSPMode = SPI_NSS_PULSE_ENABLE;
  if (HAL_SPI_Init(&hspi2) != HAL_OK)
  {
    Error_Handler();
  }

}

static void MX_TIM2_Init(void)
{

  TIM_ClockConfigTypeDef sClockSourceConfig = {0};
  TIM_MasterConfigTypeDef sMasterConfig = {0};
  TIM_OC_InitTypeDef sConfigOC = {0};

  htim2.Instance = TIM2;
  htim2.Init.Prescaler = 7999;
  htim2.Init.CounterMode = TIM_COUNTERMODE_UP;
  htim2.Init.Period = 199;
  htim2.Init.ClockDivision = TIM_CLOCKDIVISION_DIV1;
  htim2.Init.AutoReloadPreload = TIM_AUTORELOAD_PRELOAD_DISABLE;
  if (HAL_TIM_Base_Init(&htim2) != HAL_OK)
  {
    Error_Handler();
  }
  sClockSourceConfig.ClockSource = TIM_CLOCKSOURCE_INTERNAL;
  if (HAL_TIM_ConfigClockSource(&htim2, &sClockSourceConfig) != HAL_OK)
  {
    Error_Handler();
  }
  if (HAL_TIM_PWM_Init(&htim2) != HAL_OK)
  {
    Error_Handler();
  }
  sMasterConfig.MasterOutputTrigger = TIM_TRGO_RESET;
  sMasterConfig.MasterSlaveMode = TIM_MASTERSLAVEMODE_DISABLE;
  if (HAL_TIMEx_MasterConfigSynchronization(&htim2, &sMasterConfig) != HAL_OK)
  {
    Error_Handler();
  }
  sConfigOC.OCMode = TIM_OCMODE_PWM1;
  sConfigOC.Pulse = 0;
  sConfigOC.OCPolarity = TIM_OCPOLARITY_HIGH;
  sConfigOC.OCFastMode = TIM_OCFAST_DISABLE;
  if (HAL_TIM_PWM_ConfigChannel(&htim2, &sConfigOC, TIM_CHANNEL_1) != HAL_OK)
  {
    Error_Handler();
  }
  if (HAL_TIM_PWM_ConfigChannel(&htim2, &sConfigOC, TIM_CHANNEL_2) != HAL_OK)
  {
    Error_Handler();
  }
  HAL_TIM_MspPostInit(&htim2);

}

static void MX_TIM3_Init(void)
{

  TIM_ClockConfigTypeDef sClockSourceConfig = {0};
  TIM_MasterConfigTypeDef sMasterConfig = {0};
  TIM_OC_InitTypeDef sConfigOC = {0};

  htim3.Instance = TIM3;
  htim3.Init.Prescaler = 7999;
  htim3.Init.CounterMode = TIM_COUNTERMODE_UP;
  htim3.Init.Period = 199;
  htim3.Init.ClockDivision = TIM_CLOCKDIVISION_DIV1;
  htim3.Init.AutoReloadPreload = TIM_AUTORELOAD_PRELOAD_DISABLE;
  if (HAL_TIM_Base_Init(&htim3) != HAL_OK)
  {
    Error_Handler();
  }
  sClockSourceConfig.ClockSource = TIM_CLOCKSOURCE_INTERNAL;
  if (HAL_TIM_ConfigClockSource(&htim3, &sClockSourceConfig) != HAL_OK)
  {
    Error_Handler();
  }
  if (HAL_TIM_PWM_Init(&htim3) != HAL_OK)
  {
    Error_Handler();
  }
  sMasterConfig.MasterOutputTrigger = TIM_TRGO_RESET;
  sMasterConfig.MasterSlaveMode = TIM_MASTERSLAVEMODE_DISABLE;
  if (HAL_TIMEx_MasterConfigSynchronization(&htim3, &sMasterConfig) != HAL_OK)
  {
    Error_Handler();
  }
  sConfigOC.OCMode = TIM_OCMODE_PWM1;
  sConfigOC.Pulse = 0;
  sConfigOC.OCPolarity = TIM_OCPOLARITY_HIGH;
  sConfigOC.OCFastMode = TIM_OCFAST_DISABLE;
  if (HAL_TIM_PWM_ConfigChannel(&htim3, &sConfigOC, TIM_CHANNEL_1) != HAL_OK)
  {
    Error_Handler();
  }
  if (HAL_TIM_PWM_ConfigChannel(&htim3, &sConfigOC, TIM_CHANNEL_2) != HAL_OK)
  {
    Error_Handler();
  }
  HAL_TIM_MspPostInit(&htim3);

}

static void MX_TIM4_Init(void)
{

  TIM_MasterConfigTypeDef sMasterConfig = {0};
  TIM_OC_InitTypeDef sConfigOC = {0};

  htim4.Instance = TIM4;
  htim4.Init.Prescaler = 244-1;
  htim4.Init.CounterMode = TIM_COUNTERMODE_UP;
  htim4.Init.Period = 30000-1;
  htim4.Init.ClockDivision = TIM_CLOCKDIVISION_DIV1;
  htim4.Init.AutoReloadPreload = TIM_AUTORELOAD_PRELOAD_DISABLE;
  if (HAL_TIM_OC_Init(&htim4) != HAL_OK)
  {
    Error_Handler();
  }
  sMasterConfig.MasterOutputTrigger = TIM_TRGO_RESET;
  sMasterConfig.MasterSlaveMode = TIM_MASTERSLAVEMODE_DISABLE;
  if (HAL_TIMEx_MasterConfigSynchronization(&htim4, &sMasterConfig) != HAL_OK)
  {
    Error_Handler();
  }
  sConfigOC.OCMode = TIM_OCMODE_TIMING;
  sConfigOC.Pulse = 0;
  sConfigOC.OCPolarity = TIM_OCPOLARITY_HIGH;
  sConfigOC.OCFastMode = TIM_OCFAST_DISABLE;
  if (HAL_TIM_OC_ConfigChannel(&htim4, &sConfigOC, TIM_CHANNEL_1) != HAL_OK)
  {
    Error_Handler();
  }

}

static void MX_TIM7_Init(void)
{

  TIM_MasterConfigTypeDef sMasterConfig = {0};

  htim7.Instance = TIM7;
  htim7.Init.Prescaler = 1221-1;
  htim7.Init.CounterMode = TIM_COUNTERMODE_UP;
  htim7.Init.Period = 65535-1;
  htim7.Init.AutoReloadPreload = TIM_AUTORELOAD_PRELOAD_DISABLE;
  if (HAL_TIM_Base_Init(&htim7) != HAL_OK)
  {
    Error_Handler();
  }
  sMasterConfig.MasterOutputTrigger = TIM_TRGO_RESET;
  sMasterConfig.MasterSlaveMode = TIM_MASTERSLAVEMODE_DISABLE;
  if (HAL_TIMEx_MasterConfigSynchronization(&htim7, &sMasterConfig) != HAL_OK)
  {
    Error_Handler();
  }

}

static void MX_TIM8_Init(void)
{

  TIM_ClockConfigTypeDef sClockSourceConfig = {0};
  TIM_MasterConfigTypeDef sMasterConfig = {0};

  htim8.Instance = TIM8;
  htim8.Init.Prescaler = 1249;
  htim8.Init.CounterMode = TIM_COUNTERMODE_UP;
  htim8.Init.Period = 63999;
  htim8.Init.ClockDivision = TIM_CLOCKDIVISION_DIV1;
  htim8.Init.RepetitionCounter = 0;
  htim8.Init.AutoReloadPreload = TIM_AUTORELOAD_PRELOAD_DISABLE;
  if (HAL_TIM_Base_Init(&htim8) != HAL_OK)
  {
    Error_Handler();
  }
  sClockSourceConfig.ClockSource = TIM_CLOCKSOURCE_INTERNAL;
  if (HAL_TIM_ConfigClockSource(&htim8, &sClockSourceConfig) != HAL_OK)
  {
    Error_Handler();
  }
  sMasterConfig.MasterOutputTrigger = TIM_TRGO_RESET;
  sMasterConfig.MasterOutputTrigger2 = TIM_TRGO2_RESET;
  sMasterConfig.MasterSlaveMode = TIM_MASTERSLAVEMODE_DISABLE;
  if (HAL_TIMEx_MasterConfigSynchronization(&htim8, &sMasterConfig) != HAL_OK)
  {
    Error_Handler();
  }

}

static void MX_USART1_UART_Init(void)
{

  huart1.Instance = USART1;
  huart1.Init.BaudRate = 9600;
  huart1.Init.WordLength = UART_WORDLENGTH_8B;
  huart1.Init.StopBits = UART_STOPBITS_1;
  huart1.Init.Parity = UART_PARITY_NONE;
  huart1.Init.Mode = UART_MODE_TX_RX;
  huart1.Init.HwFlowCtl = UART_HWCONTROL_NONE;
  huart1.Init.OverSampling = UART_OVERSAMPLING_16;
  huart1.Init.OneBitSampling = UART_ONE_BIT_SAMPLE_DISABLE;
  huart1.AdvancedInit.AdvFeatureInit = UART_ADVFEATURE_NO_INIT;
  if (HAL_UART_Init(&huart1) != HAL_OK)
  {
    Error_Handler();
  }

}

static void MX_USART2_UART_Init(void)
{

  huart2.Instance = USART2;
  huart2.Init.BaudRate = 115200;
  huart2.Init.WordLength = UART_WORDLENGTH_8B;
  huart2.Init.StopBits = UART_STOPBITS_1;
  huart2.Init.Parity = UART_PARITY_NONE;
  huart2.Init.Mode = UART_MODE_TX_RX;
  huart2.Init.HwFlowCtl = UART_HWCONTROL_NONE;
  huart2.Init.OverSampling = UART_OVERSAMPLING_16;
  huart2.Init.OneBitSampling = UART_ONE_BIT_SAMPLE_DISABLE;
  huart2.AdvancedInit.AdvFeatureInit = UART_ADVFEATURE_NO_INIT;
  if (HAL_UART_Init(&huart2) != HAL_OK)
  {
    Error_Handler();
  }

}

static void MX_DMA_Init(void)
{

  /* DMA controller clock enable */
  __HAL_RCC_DMA1_CLK_ENABLE();

  /* DMA interrupt init */
  /* DMA1_Channel1_IRQn interrupt configuration */
  HAL_NVIC_SetPriority(DMA1_Channel1_IRQn, 0, 0);
  HAL_NVIC_EnableIRQ(DMA1_Channel1_IRQn);
  /* DMA1_Channel2_IRQn interrupt configuration */
  HAL_NVIC_SetPriority(DMA1_Channel2_IRQn, 0, 0);
  HAL_NVIC_EnableIRQ(DMA1_Channel2_IRQn);

}

static void MX_GPIO_Init(void)
{
  GPIO_InitTypeDef GPIO_InitStruct = {0};

  /* GPIO Ports Clock Enable */
  __HAL_RCC_GPIOC_CLK_ENABLE();
  __HAL_RCC_GPIOF_CLK_ENABLE();
  __HAL_RCC_GPIOA_CLK_ENABLE();
  __HAL_RCC_GPIOB_CLK_ENABLE();

  /*Configure GPIO pin Output Level */
  HAL_GPIO_WritePin(GPIOC, GPIO_PIN_13|lora_NSS_PIN_Pin|lora_Reset_PIN_Pin, GPIO_PIN_RESET);

  /*Configure GPIO pins : PC13 lora_NSS_PIN_Pin lora_Reset_PIN_Pin */
  GPIO_InitStruct.Pin = GPIO_PIN_13|lora_NSS_PIN_Pin|lora_Reset_PIN_Pin;
  GPIO_InitStruct.Mode = GPIO_MODE_OUTPUT_PP;
  GPIO_InitStruct.Pull = GPIO_NOPULL;
  GPIO_InitStruct.Speed = GPIO_SPEED_FREQ_LOW;
  HAL_GPIO_Init(GPIOC, &GPIO_InitStruct);

  /*Configure GPIO pins : lora_DIO1_PIN_Pin lora_DIO2_PIN_Pin lora_DIO0_PIN_Pin */
  GPIO_InitStruct.Pin = lora_DIO1_PIN_Pin|lora_DIO2_PIN_Pin|lora_DIO0_PIN_Pin;
  GPIO_InitStruct.Mode = GPIO_MODE_IT_RISING;
  GPIO_InitStruct.Pull = GPIO_NOPULL;
  HAL_GPIO_Init(GPIOC, &GPIO_InitStruct);

  /* EXTI interrupt init*/
  HAL_NVIC_SetPriority(EXTI0_IRQn, 0, 0);
  HAL_NVIC_EnableIRQ(EXTI0_IRQn);

  HAL_NVIC_SetPriority(EXTI1_IRQn, 0, 0);
  HAL_NVIC_EnableIRQ(EXTI1_IRQn);

  HAL_NVIC_SetPriority(EXTI9_5_IRQn, 0, 0);
  HAL_NVIC_EnableIRQ(EXTI9_5_IRQn);

}

void Error_Handler(void)
{
  __disable_irq();
  while (1)
  {
  }
}
